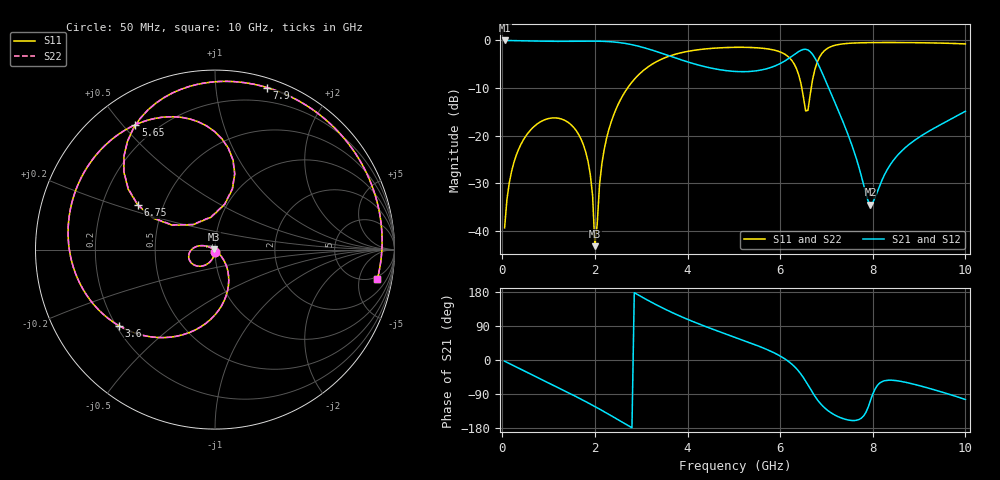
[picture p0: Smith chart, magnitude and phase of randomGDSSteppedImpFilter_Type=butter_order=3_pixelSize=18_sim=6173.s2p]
! freq	dB(S11)	phase(S11)	dB(S12)	phase(S12)
!  dB(S21)	phase(S21)	dB(S22)	phase(S22)
!S-par simulation data
#  GHz  S  DB  R 50
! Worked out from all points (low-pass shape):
!   200 points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, 50 MHz to 10 GHz, reference 50 ohm
!   highest |S21| = -0.01 dB at 50 MHz (marker M1); lowest = -34.4 dB at 7.95 GHz (marker M2)
!   |S21| within 3 dB of the highest: start of sweep to 3.536 GHz; 6.299 GHz to 6.706 GHz (406.8 MHz wide, 6.26 % of centre)
!   lowest |S11| = -43.2 dB at 2 GHz (marker M3), VSWR 1.01, Z = 49.3 + j0.12 ohm
!   |S11| at or under -10 dB: start of sweep to 2.703 GHz; 6.467 GHz to 6.671 GHz (203.8 MHz wide, 3.1 % of centre)
!   |S22| runs from -43.1 to -0.4 dB; largest |S21 - S12| = 0
!   S11 on the Smith chart (normalised r, x): 50 MHz: 1.00, -0.02; 3.6 GHz: 0.21, -0.33; 5.65 GHz: 0.12, +0.54; 6.75 GHz: 0.36, +0.24; 7.9 GHz: 0.08, +1.37; 10 GHz: 4.22, -9.01
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0.05  -39.33 -92.3  -0.01 -3.1  -0.01 -3.1  -39.33 -92.3
0.25  -25.64 -105.4  -0.04 -15.3  -0.04 -15.3  -25.64 -105.4
0.65  -18.39 -130.0  -0.11 -39.5  -0.11 -39.5  -18.39 -130.0
1.3  -16.56 -168.9  -0.19 -78.5  -0.19 -78.5  -16.56 -168.9
1.75  -21.86 164.1  -0.16 -106.5  -0.16 -106.5  -21.86 164.1
1.9  -28.09 156.3  -0.15 -116.2  -0.15 -116.2  -28.09 156.4
2  -43.17 169.9  -0.15 -122.8  -0.15 -122.8  -43.15 170.3
2.15  -25.91 -47.1  -0.18 -133.0  -0.18 -133.0  -25.91 -47.1
2.35  -17.13 -59.1  -0.28 -146.9  -0.28 -146.9  -17.13 -59.1
3.4  -4.11 -129.9  -2.56 141.0  -2.56 141.0  -4.11 -129.9
3.6  -3.31 -141.7  -3.22 129.1  -3.22 129.1  -3.31 -141.7
5.05  -1.44 149.3  -6.52 58.8  -6.52 58.8  -1.44 149.3
5.65  -1.67 122.5  -6.08 31.0  -6.08 31.0  -1.67 122.5
6.4  -7.20 75.3  -2.33 -29.5  -2.33 -29.5  -7.19 75.5
6.55  -14.78 96.5  -1.85 -55.6  -1.85 -55.6  -14.71 96.6
6.7  -8.24 153.1  -2.92 -86.0  -2.92 -86.0  -8.22 152.9
6.75  -6.08 150.1  -3.67 -95.6  -3.67 -95.6  -6.07 149.9
7.2  -0.98 108.5  -13.43 -146.5  -13.43 -146.5  -0.98 108.4
7.9  -0.46 72.2  -33.70 -124.8  -33.70 -124.8  -0.46 72.2
7.95  -0.45 70.1  -34.44 -106.9  -34.44 -106.9  -0.45 70.0
8.35  -0.44 53.6  -26.50 -53.2  -26.50 -53.2  -0.44 53.6
10  -0.73 -10.4  -14.86 -104.2  -14.86 -104.2  -0.73 -10.4
